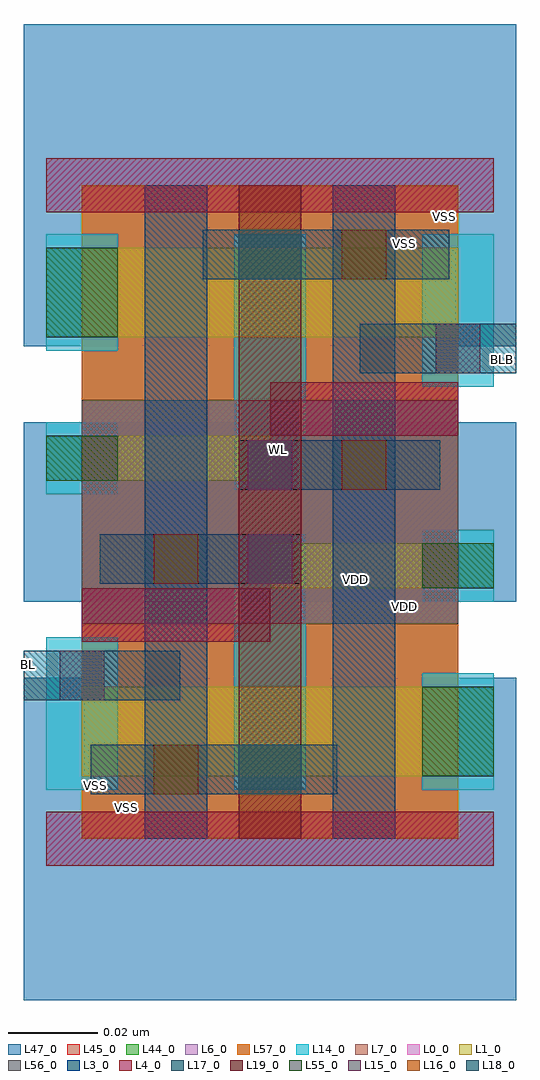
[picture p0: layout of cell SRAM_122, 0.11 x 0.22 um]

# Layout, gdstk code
import gdstk
lib = gdstk.Library(unit=1e-6, precision=5e-10)
def R(c, l, rs):  # rectangles x0, y0, x1, y1
    for r in rs: c.add(gdstk.rectangle(r[:2], r[2:], *l))
L0_0 = (0, 0)
L1_0 = (1, 0)
L3_0 = (3, 0)
L4_0 = (4, 0)
L6_0 = (6, 0)
L7_0 = (7, 0)
L14_0 = (14, 0)
L15_0 = (15, 0)
L16_0 = (16, 0)
L17_0 = (17, 0)
L18_0 = (18, 0)
L19_0 = (19, 0)
L44_0 = (44, 0)
L45_0 = (45, 0)
L47_0 = (47, 0)
L55_0 = (55, 0)
L56_0 = (56, 0)
L57_0 = (57, 0)

sram_122 = lib.new_cell('SRAM_122')
R(sram_122, L0_0, [(0,0.048,0.084,0.098)])
R(sram_122, L1_0, [(0,0.014,0.084,0.034), (0.042,0.056,0.084,0.066), (0,0.08,0.042,0.09), (0,0.112,0.084,0.132)])
R(sram_122, L3_0, [(0.014,0,0.028,0.146), (0.056,0,0.07,0.146)])
R(sram_122, L4_0, [(-0.008,-0.006,0.092,0.006), (0,0.044,0.042,0.056), (0.042,0.09,0.084,0.102), (-0.008,0.14,0.092,0.152)])
R(sram_122, L6_0, [(0,0,0.084,0.048), (0,0.098,0.084,0.146)])
R(sram_122, L7_0, [(0,0.048,0.084,0.098)])
R(sram_122, L14_0, [(-0.008,0.011,0.008,0.045), (0.034,0.011,0.05,0.068), (0.076,0.011,0.092,0.037), (0.076,0.053,0.092,0.069), (-0.008,0.077,0.008,0.093), (0.034,0.078,0.05,0.135), (0.076,0.101,0.092,0.135), (-0.008,0.109,0.008,0.135)])
R(sram_122, L15_0, [(-0.005,0.031,0.005,0.042), (0.037,0.057,0.047,0.068), (0.037,0.078,0.047,0.089), (0.079,0.104,0.089,0.115)])
R(sram_122, L16_0, [(0.016,0.01,0.026,0.021), (0.016,0.057,0.026,0.068), (0.058,0.078,0.068,0.089), (0.058,0.125,0.068,0.136)])
R(sram_122, L17_0, [(0.002,0.01,0.057,0.021), (-0.013,0.031,0.022,0.042), (0.004,0.057,0.049,0.068), (0.035,0.078,0.08,0.089), (0.062,0.104,0.097,0.115), (0.027,0.125,0.082,0.136)])
R(sram_122, L18_0, [(0.035,0.01,0.049,0.021), (0.035,0.125,0.049,0.136)])
R(sram_122, L19_0, [(0.035,0,0.049,0.146)])
R(sram_122, L44_0, [(0,0,0.084,0.146)])
R(sram_122, L45_0, [(0,0,0.084,0.146)])
R(sram_122, L47_0, [(-0.013,-0.036,0.097,0.036), (-0.013,0.053,0.097,0.093), (-0.013,0.11,0.097,0.182)])
R(sram_122, L55_0, [(0.076,0.014,0.092,0.034), (0.076,0.056,0.092,0.066), (-0.008,0.08,0.008,0.09), (-0.008,0.112,0.008,0.132)])
R(sram_122, L56_0, [(0,0.048,0.084,0.098)])
R(sram_122, L57_0, [(0,0,0.084,0.048), (0,0.098,0.084,0.146)])
sram_122.add(gdstk.Label('VSS', (0.072,0.133), layer=47, texttype=2))
sram_122.add(gdstk.Label('VDD', (0.061,0.058), layer=47, texttype=2))
sram_122.add(gdstk.Label('VSS', (0.003,0.012), layer=47, texttype=2))
sram_122.add(gdstk.Label('WL', (0.044,0.087), layer=19, texttype=2))
sram_122.add(gdstk.Label('BL', (-0.012,0.039), layer=17, texttype=2))
sram_122.add(gdstk.Label('BLB', (0.094,0.107), layer=17, texttype=2))
sram_122.add(gdstk.Label('VDD', (0.072,0.052), layer=0, texttype=2))
sram_122.add(gdstk.Label('VSS', (0.081,0.139), layer=54, texttype=2))
sram_122.add(gdstk.Label('VSS', (0.01,0.007), layer=54, texttype=2))

lib.write_gds('SRAM_122.gds')
